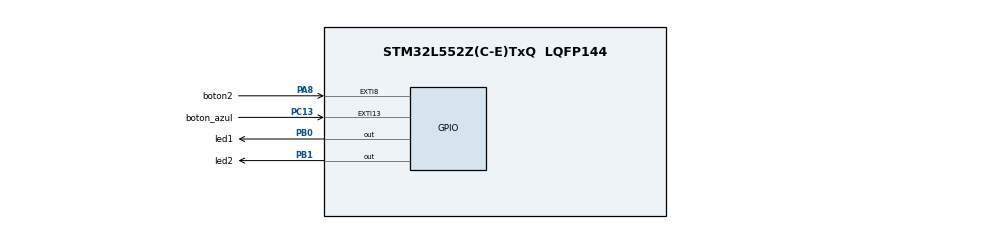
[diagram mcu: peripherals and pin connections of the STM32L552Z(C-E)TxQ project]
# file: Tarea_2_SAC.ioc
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Mcu.Family=STM32L5
Mcu.Name=STM32L552Z(C-E)TxQ
Mcu.Package=LQFP144
NVIC.EXTI13_IRQn=true\:0\:0\:false\:false\:true\:true\:true\:true
NVIC.EXTI8_IRQn=true\:0\:0\:false\:false\:true\:true\:true\:true
NVIC.PriorityGroup=NVIC_PRIORITYGROUP_3
PA8.GPIO_Label=boton2
PA8.GPIO_ModeDefaultEXTI=GPIO_MODE_IT_FALLING
PA8.Signal=GPXTI8
PB0.GPIO_Label=led1
PB0.Signal=GPIO_Output
PB1.GPIO_Label=led2
PB1.Signal=GPIO_Output
PC13.GPIO_Label=boton_azul
PC13.GPIO_ModeDefaultEXTI=GPIO_MODE_IT_FALLING
PC13.Signal=GPXTI13
ProjectManager.HeapSize=0x200
ProjectManager.StackSize=0x400
ProjectManager.TargetToolchain=STM32CubeIDE
RCC.HSE_VALUE=16000000
RCC.HSI48_VALUE=48000000
RCC.HSI_VALUE=16000000
RCC.LSE_VALUE=32768
RCC.MSI_VALUE=4000000
RCC.VCOOutputFreq_Value=32000000
board=custom

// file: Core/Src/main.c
/* USER CODE BEGIN Header */
/**
  ******************************************************************************
  * @file           : main.c
  * @brief          : Main program body
  ******************************************************************************
  * @attention
  *
  * Copyright (c) 2024 STMicroelectronics.
  * All rights reserved.
  *
  * This software is licensed under terms that can be found in the LICENSE file
  * in the root directory of this software component.
  * If no LICENSE file comes with this software, it is provided AS-IS.
  *
  ******************************************************************************
  */
/* USER CODE END Header */
#include "main.h"

/* USER CODE BEGIN PTD */
typedef enum {
    ESTADO_0,
    ESTADO_1,
    ESTADO_2,
    ESTADO_3
} Estado;
/* USER CODE END PTD */

void SystemClock_Config(void);
static void MX_GPIO_Init(void);

/* USER CODE BEGIN 0 */
Estado estadoActual = ESTADO_0;
/* USER CODE END 0 */

int main(void)
{

  /* MCU Configuration--------------------------------------------------------*/

  /* Reset of all peripherals, Initializes the Flash interface and the Systick. */
  HAL_Init();

  /* Configure the system clock */
  SystemClock_Config();

  /* Initialize all configured peripherals */
  MX_GPIO_Init();

  /* Infinite loop */
  /* USER CODE BEGIN WHILE */
  while (1)
  {
	  HAL_GPIO_TogglePin(led1_GPIO_Port, led1_Pin);
	  HAL_Delay(1000);

	  if(estadoActual == ESTADO_0){
		  HAL_GPIO_TogglePin(led1_GPIO_Port, led1_Pin);
		  HAL_Delay(1000);
	  }

	  if(estadoActual == ESTADO_1){
		  HAL_GPIO_TogglePin(led1_GPIO_Port, led1_Pin);
		  HAL_Delay(500);
	  }
	  if(estadoActual == ESTADO_2){
		  HAL_GPIO_TogglePin(led1_GPIO_Port, led1_Pin);
	  	  HAL_Delay(1500);
	  	  }
	  if(estadoActual == ESTADO_3){
		  HAL_GPIO_TogglePin(led1_GPIO_Port, led1_Pin);
	  	  HAL_Delay(2000);
	  	  }

    /* USER CODE END WHILE */

  }
}

void SystemClock_Config(void)
{
  RCC_OscInitTypeDef RCC_OscInitStruct = {0};
  RCC_ClkInitTypeDef RCC_ClkInitStruct = {0};

  /** Configure the main internal regulator output voltage
  */
  if (HAL_PWREx_ControlVoltageScaling(PWR_REGULATOR_VOLTAGE_SCALE2) != HAL_OK)
  {
    Error_Handler();
  }

  /** Initializes the RCC Oscillators according to the specified parameters
  * in the RCC_OscInitTypeDef structure.
  */
  RCC_OscInitStruct.OscillatorType = RCC_OSCILLATORTYPE_MSI;
  RCC_OscInitStruct.MSIState = RCC_MSI_ON;
  RCC_OscInitStruct.MSICalibrationValue = RCC_MSICALIBRATION_DEFAULT;
  RCC_OscInitStruct.MSIClockRange = RCC_MSIRANGE_6;
  RCC_OscInitStruct.PLL.PLLState = RCC_PLL_NONE;
  if (HAL_RCC_OscConfig(&RCC_OscInitStruct) != HAL_OK)
  {
    Error_Handler();
  }

  /** Initializes the CPU, AHB and APB buses clocks
  */
  RCC_ClkInitStruct.ClockType = RCC_CLOCKTYPE_HCLK|RCC_CLOCKTYPE_SYSCLK
                              |RCC_CLOCKTYPE_PCLK1|RCC_CLOCKTYPE_PCLK2;
  RCC_ClkInitStruct.SYSCLKSource = RCC_SYSCLKSOURCE_MSI;
  RCC_ClkInitStruct.AHBCLKDivider = RCC_SYSCLK_DIV1;
  RCC_ClkInitStruct.APB1CLKDivider = RCC_HCLK_DIV1;
  RCC_ClkInitStruct.APB2CLKDivider = RCC_HCLK_DIV1;

  if (HAL_RCC_ClockConfig(&RCC_ClkInitStruct, FLASH_LATENCY_0) != HAL_OK)
  {
    Error_Handler();
  }
}

static void MX_GPIO_Init(void)
{
  GPIO_InitTypeDef GPIO_InitStruct = {0};

  /* GPIO Ports Clock Enable */
  __HAL_RCC_GPIOC_CLK_ENABLE();
  __HAL_RCC_GPIOB_CLK_ENABLE();
  __HAL_RCC_GPIOA_CLK_ENABLE();

  /*Configure GPIO pin Output Level */
  HAL_GPIO_WritePin(GPIOB, led1_Pin|led2_Pin, GPIO_PIN_RESET);

  /*Configure GPIO pin : boton_azul_Pin */
  GPIO_InitStruct.Pin = boton_azul_Pin;
  GPIO_InitStruct.Mode = GPIO_MODE_IT_FALLING;
  GPIO_InitStruct.Pull = GPIO_NOPULL;
  HAL_GPIO_Init(boton_azul_GPIO_Port, &GPIO_InitStruct);

  /*Configure GPIO pins : led1_Pin led2_Pin */
  GPIO_InitStruct.Pin = led1_Pin|led2_Pin;
  GPIO_InitStruct.Mode = GPIO_MODE_OUTPUT_PP;
  GPIO_InitStruct.Pull = GPIO_NOPULL;
  GPIO_InitStruct.Speed = GPIO_SPEED_FREQ_LOW;
  HAL_GPIO_Init(GPIOB, &GPIO_InitStruct);

  /*Configure GPIO pin : boton2_Pin */
  GPIO_InitStruct.Pin = boton2_Pin;
  GPIO_InitStruct.Mode = GPIO_MODE_IT_FALLING;
  GPIO_InitStruct.Pull = GPIO_NOPULL;
  HAL_GPIO_Init(boton2_GPIO_Port, &GPIO_InitStruct);

  /* EXTI interrupt init*/
  HAL_NVIC_SetPriority(EXTI8_IRQn, 0, 0);
  HAL_NVIC_EnableIRQ(EXTI8_IRQn);

  HAL_NVIC_SetPriority(EXTI13_IRQn, 0, 0);
  HAL_NVIC_EnableIRQ(EXTI13_IRQn);

}

/* USER CODE BEGIN 4 */
void HAL_GPIO_EXTI_Falling_Callback(uint16_t GPIO_Pin){

	if (GPIO_Pin == boton_azul_Pin){
		switch (estadoActual){
		case ESTADO_0:
			//HAL_GPIO_TogglePin(led1_GPIO_Port, led1_Pin);
			//HAL_Delay(1000);
			estadoActual = ESTADO_3;
			break;
		case ESTADO_1:
			estadoActual = ESTADO_0;
			break;
		case ESTADO_2:
			estadoActual = ESTADO_1;
			break;
		case ESTADO_3:
			estadoActual = ESTADO_2;
			break;
		default:
			break;
		}
	}
	if (GPIO_Pin == boton2_Pin){
			switch (estadoActual){
			case ESTADO_0:
				estadoActual = ESTADO_1;
				break;
			case ESTADO_1:
				estadoActual = ESTADO_2;
				break;
			case ESTADO_2:
				estadoActual = ESTADO_3;
				break;
			case ESTADO_3:
				estadoActual = ESTADO_0;
				break;
			default:
				break;
			}
		}
}
/* USER CODE END 4 */

void Error_Handler(void)
{
  __disable_irq();
  while (1)
  {
  }
}
